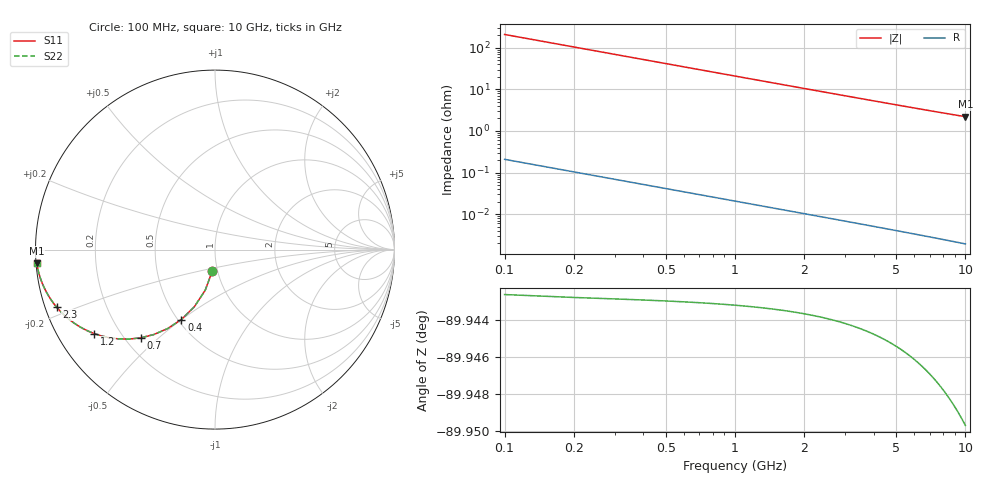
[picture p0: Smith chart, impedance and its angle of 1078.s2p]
# Hz S RI R 50.00
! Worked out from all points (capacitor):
!   100 points, 100 MHz to 10 GHz, reference 50 ohm
!   read as one part in shunt: C = 7.64 pF near 100 MHz
!   lowest |Z| = 2.21 ohm at 10 GHz (marker M1)
!   S11 on the Smith chart (normalised r, x): 100 MHz: 0.95, -0.23; 400 MHz: 0.52, -0.50; 700 MHz: 0.26, -0.44; 1.2 GHz: 0.11, -0.31; 2.3 GHz: 0.03, -0.18; 10 GHz: 0.00, -0.04
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1e8  -0.0143 -0.1182  0.9857 -0.1183  0.9857 -0.1183  -0.0143 -0.1182
2e8  -0.0546 -0.2267  0.9453 -0.2269  0.9453 -0.2269  -0.0546 -0.2267
3e8  -0.1149 -0.3183  0.8851 -0.3186  0.8851 -0.3186  -0.1149 -0.3183
4e8  -0.1873 -0.3895  0.8126 -0.3899  0.8126 -0.3899  -0.1873 -0.3895
5e8  -0.2646 -0.4404  0.7353 -0.4409  0.7353 -0.4409  -0.2646 -0.4404
6e8  -0.3411 -0.4733  0.6588 -0.4739  0.6588 -0.4739  -0.3411 -0.4733
7e8  -0.4132 -0.4916  0.5868 -0.4923  0.5868 -0.4923  -0.4132 -0.4916
9e8  -0.5375 -0.4976  0.4625 -0.4985  0.4625 -0.4985  -0.5375 -0.4976
1e9  -0.5891 -0.491  0.4109 -0.492  0.4109 -0.492  -0.5891 -0.491
1.2e9  -0.6734 -0.4679  0.3266 -0.4691  0.3266 -0.4691  -0.6734 -0.4679
1.3e9  -0.7074 -0.4538  0.2926 -0.4551  0.2926 -0.4551  -0.7074 -0.4538
1.5e9  -0.7627 -0.4241  0.2372 -0.4256  0.2372 -0.4256  -0.7627 -0.4241
1.8e9  -0.8221 -0.381  0.1779 -0.3828  0.1779 -0.3828  -0.8221 -0.381
2e9  -0.8507 -0.3549  0.1493 -0.3569  0.1493 -0.3569  -0.8507 -0.3549
2.3e9  -0.8827 -0.3202  0.1173 -0.3225  0.1173 -0.3225  -0.8827 -0.3202
2.8e9  -0.9175 -0.2732  0.0825 -0.276  0.0825 -0.276  -0.9175 -0.2732
3.4e9  -0.9424 -0.2307  0.0576 -0.2342  0.0576 -0.2342  -0.9424 -0.2307
4.2e9  -0.9614 -0.1899  0.0386 -0.1942  0.0386 -0.1942  -0.9614 -0.1899
5.1e9  -0.9735 -0.1575  0.0265 -0.1627  0.0265 -0.1627  -0.9735 -0.1575
6.7e9  -0.9845 -0.1195  0.0155 -0.1265  0.0155 -0.1265  -0.9845 -0.1195
8.4e9  -0.9901 -0.0939  0.00983 -0.1027  0.00983 -0.1027  -0.9901 -0.0939
1e10  -0.993 -0.0771  0.00688 -0.0877  0.00688 -0.0877  -0.993 -0.0771
